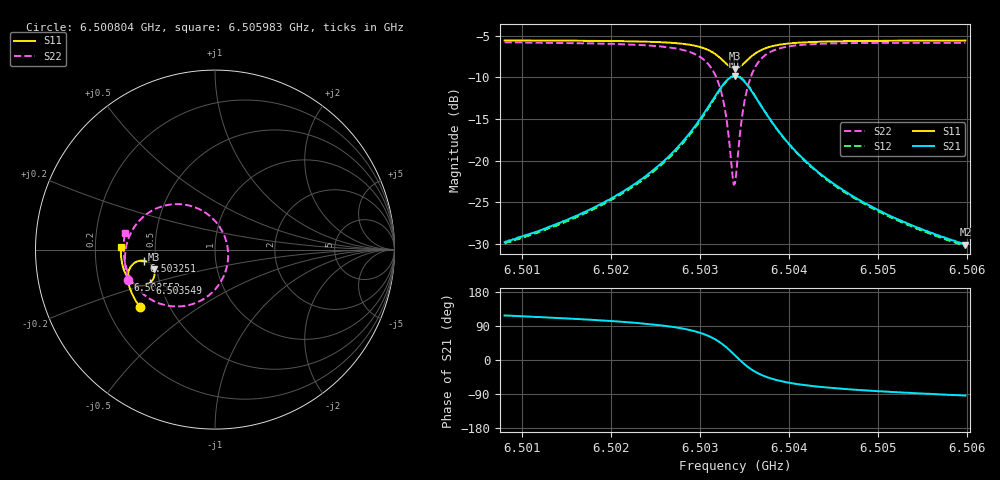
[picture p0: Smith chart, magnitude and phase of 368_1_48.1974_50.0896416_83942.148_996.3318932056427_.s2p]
#  HZ  S  RI  R  50.00
! Rohde & Schwarz Vector Network Analyzer
! Rohde-Schwarz,ZNB20-2Port,1311601062101988,3.16
! Created: UTC 3/20/2024, 11:52:35 AM
! freq[Hz]  re:S11  im:S11  re:S21  im:S21  re:S12  im:S12  re:S22  im:S22
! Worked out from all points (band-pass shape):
!   401 points, 6.500804 GHz to 6.505983 GHz, reference 50 ohm
!   highest |S21| = -9.84 dB at 6.503393 GHz (marker M1); lowest = -30.1 dB at 6.505983 GHz (marker M2)
!   |S21| within 3 dB of the highest: 6.503135 GHz to 6.503653 GHz (517.7 kHz wide, 0.00796 % of centre)
!   lowest |S11| = -8.9 dB at 6.503393 GHz (marker M3), VSWR 2.11, Z = 24.1 - j6.09 ohm
!   |S11| at or under -10 dB: nowhere
!   |S22| runs from -22.9 to -5.8 dB; largest |S21 - S12| = 0.011
!   S11 on the Smith chart (normalised r, x): 6.500804 GHz: 0.34, -0.30; 6.502552 GHz: 0.33, -0.15; 6.503251 GHz: 0.43, -0.06; 6.503549 GHz: 0.44, -0.20; 6.505983 GHz: 0.31, +0.01
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6.5008042e9  -0.4195 -0.3181  -0.015 0.0289  -0.0134 0.029  -0.4854 -0.1673
6.5016715e9  -0.4578 -0.2554  -0.0146 0.0461  -0.0123 0.0459  -0.501 -0.0775
6.5021505e9  -0.4752 -0.2137  -0.012 0.065  -0.00897 0.0642  -0.4993 -0.0115
6.5025389e9  -0.485 -0.1717  -0.00329 0.094  0.000228 0.0917  -0.4815 0.0635
6.5025519e9  -0.4853 -0.1703  -0.00284 0.0951  0.000812 0.093  -0.4805 0.0665
6.5027978e9  -0.4848 -0.1351  0.015 0.128  0.0189 0.1242  -0.4428 0.1356
6.5029791e9  -0.4738 -0.1019  0.049 0.1637  0.0523 0.1583  -0.3757 0.2016
6.5031474e9  -0.4397 -0.0689  0.1254 0.1969  0.1267 0.1906  -0.2356 0.2527
6.503251e9  -0.3976 -0.0617  0.2096 0.1887  0.21 0.1834  -0.089 0.2261
6.5033027e9  -0.3724 -0.0701  0.2574 0.1613  0.2582 0.1568  -0.00978 0.1699
6.5033675e9  -0.346 -0.0958  0.3047 0.099  0.3072 0.0941  0.0616 0.0502
6.5033934e9  -0.3397 -0.11  0.3149 0.0676  0.3179 0.0617  0.0726 -0.00854
6.5034063e9  -0.3377 -0.1176  0.3177 0.051  0.321 0.0448  0.0735 -0.0386
6.503484e9  -0.3435 -0.1617  0.3014 -0.0419  0.3032 -0.0517  0.0174 -0.2014
6.5035487e9  -0.3643 -0.1871  0.2596 -0.0954  0.2584 -0.1063  -0.077 -0.2829
6.5036523e9  -0.4031 -0.2021  0.1865 -0.1313  0.1813 -0.1405  -0.2239 -0.3169
6.5038206e9  -0.4485 -0.1922  0.1066 -0.1286  0.0996 -0.1334  -0.368 -0.2714
6.5040018e9  -0.4756 -0.1708  0.0629 -0.1091  0.0567 -0.1113  -0.4387 -0.2077
6.5042607e9  -0.4961 -0.1407  0.0334 -0.0854  0.0287 -0.086  -0.4816 -0.1366
6.5046362e9  -0.5112 -0.1023  0.0152 -0.0635  0.0118 -0.063  -0.5033 -0.0643
6.5051281e9  -0.521 -0.0572  0.00494 -0.0467  0.00277 -0.046  -0.5098 0.00347
6.5059826e9  -0.5257 0.0148  -0.00214 -0.0313  -0.00333 -0.0306  -0.5014 0.0921
